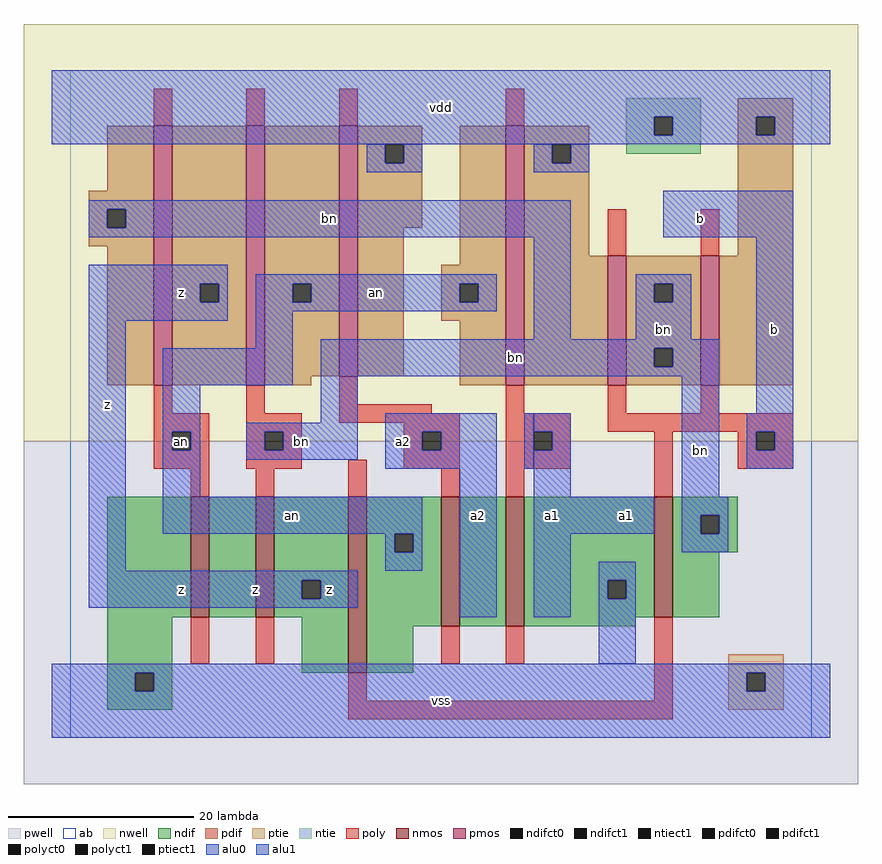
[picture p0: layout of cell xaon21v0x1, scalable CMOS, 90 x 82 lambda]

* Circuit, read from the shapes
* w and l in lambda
.subckt xaon21v0x1 a1 a2 an b bn vdd vss z
M1 n1 an vss vss nfet w=13 l=2
M2 z bn n1 vss nfet w=13 l=2
M3 an b z vss nfet w=19 l=2
M4 n2 a2 an vss nfet w=14 l=2
M5 vss a1 n2 vss nfet w=14 l=2
M6 bn b vss vss nfet w=13 l=2
M7 z an bn vdd pfet w=28 l=2
M8 an bn z vdd pfet w=28 l=2
M9 vdd a2 an vdd pfet w=27 l=2
M10 vdd a1 an vdd pfet w=28 l=2
M11 bn b vdd vdd pfet w=14 l=2 m=2
.ends

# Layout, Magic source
magic
tech scmos
<< ab >>
rect 0 0 80 72
<< nwell >>
rect -5 32 85 77
<< pwell >>
rect -5 -5 85 32
<< poly >>
rect 9 66 11 70
rect 19 66 21 70
rect 29 66 31 70
rect 47 66 49 70
rect 9 35 11 38
rect 19 35 21 38
rect 29 36 31 39
rect 58 52 60 57
rect 68 52 70 57
rect 29 35 39 36
rect 47 35 49 38
rect 58 35 60 38
rect 68 35 70 38
rect 9 33 15 35
rect 9 31 11 33
rect 13 31 15 33
rect 9 29 15 31
rect 19 33 25 35
rect 29 34 42 35
rect 19 31 21 33
rect 23 31 25 33
rect 19 29 25 31
rect 36 33 42 34
rect 36 31 38 33
rect 40 31 42 33
rect 13 26 15 29
rect 20 26 22 29
rect 30 26 32 30
rect 36 29 42 31
rect 40 26 42 29
rect 47 33 54 35
rect 58 33 78 35
rect 47 31 50 33
rect 52 31 54 33
rect 47 29 54 31
rect 47 26 49 29
rect 63 26 65 33
rect 72 31 74 33
rect 76 31 78 33
rect 72 29 78 31
rect 13 8 15 13
rect 20 8 22 13
rect 40 8 42 12
rect 47 8 49 12
rect 30 4 32 7
rect 63 4 65 13
rect 30 2 65 4
<< ndif >>
rect 4 13 13 26
rect 15 13 20 26
rect 22 17 30 26
rect 22 15 25 17
rect 27 15 30 17
rect 22 13 30 15
rect 4 7 11 13
rect 25 7 30 13
rect 32 22 40 26
rect 32 20 35 22
rect 37 20 40 22
rect 32 12 40 20
rect 42 12 47 26
rect 49 17 63 26
rect 49 15 58 17
rect 60 15 63 17
rect 49 13 63 15
rect 65 24 72 26
rect 65 22 68 24
rect 70 22 72 24
rect 65 20 72 22
rect 65 13 70 20
rect 49 12 61 13
rect 32 7 37 12
rect 4 5 7 7
rect 9 5 11 7
rect 4 3 11 5
<< pdif >>
rect 4 59 9 66
rect 2 57 9 59
rect 2 55 4 57
rect 6 55 9 57
rect 2 53 9 55
rect 4 38 9 53
rect 11 49 19 66
rect 11 47 14 49
rect 16 47 19 49
rect 11 38 19 47
rect 21 49 29 66
rect 21 47 24 49
rect 26 47 29 49
rect 21 39 29 47
rect 31 64 38 66
rect 31 62 34 64
rect 36 62 38 64
rect 31 55 38 62
rect 31 39 36 55
rect 42 51 47 66
rect 40 49 47 51
rect 40 47 42 49
rect 44 47 47 49
rect 40 45 47 47
rect 21 38 26 39
rect 42 38 47 45
rect 49 64 56 66
rect 49 62 52 64
rect 54 62 56 64
rect 72 67 78 69
rect 72 65 74 67
rect 76 65 78 67
rect 49 52 56 62
rect 72 52 78 65
rect 49 38 58 52
rect 60 49 68 52
rect 60 47 63 49
rect 65 47 68 49
rect 60 42 68 47
rect 60 40 63 42
rect 65 40 68 42
rect 60 38 68 40
rect 70 38 78 52
<< alu1 >>
rect -2 67 82 72
rect -2 65 63 67
rect 65 65 74 67
rect 76 65 82 67
rect -2 64 82 65
rect 64 54 78 59
rect 2 49 17 51
rect 2 47 14 49
rect 16 47 17 49
rect 2 45 17 47
rect 2 18 6 45
rect 34 33 46 35
rect 34 31 38 33
rect 40 31 46 33
rect 34 29 46 31
rect 50 33 54 35
rect 52 31 54 33
rect 2 17 31 18
rect 2 15 25 17
rect 27 15 31 17
rect 2 14 31 15
rect 42 13 46 29
rect 50 26 54 31
rect 74 35 78 54
rect 73 33 78 35
rect 73 31 74 33
rect 76 31 78 33
rect 73 29 78 31
rect 50 22 63 26
rect 50 13 54 22
rect -2 7 82 8
rect -2 5 7 7
rect 9 5 73 7
rect 75 5 82 7
rect -2 0 82 5
<< ptie >>
rect 71 7 77 9
rect 71 5 73 7
rect 75 5 77 7
rect 71 3 77 5
<< ntie >>
rect 60 67 68 69
rect 60 65 63 67
rect 65 65 68 67
rect 60 63 68 65
<< nmos >>
rect 13 13 15 26
rect 20 13 22 26
rect 30 7 32 26
rect 40 12 42 26
rect 47 12 49 26
rect 63 13 65 26
<< pmos >>
rect 9 38 11 66
rect 19 38 21 66
rect 29 39 31 66
rect 47 38 49 66
rect 58 38 60 52
rect 68 38 70 52
<< polyct0 >>
rect 11 31 13 33
rect 21 31 23 33
<< polyct1 >>
rect 38 31 40 33
rect 50 31 52 33
rect 74 31 76 33
<< ndifct0 >>
rect 35 20 37 22
rect 58 15 60 17
rect 68 22 70 24
<< ndifct1 >>
rect 25 15 27 17
rect 7 5 9 7
<< ntiect1 >>
rect 63 65 65 67
<< ptiect1 >>
rect 73 5 75 7
<< pdifct0 >>
rect 4 55 6 57
rect 24 47 26 49
rect 34 62 36 64
rect 42 47 44 49
rect 52 62 54 64
rect 63 47 65 49
rect 63 40 65 42
<< pdifct1 >>
rect 14 47 16 49
rect 74 65 76 67
<< alu0 >>
rect 32 62 34 64
rect 36 62 38 64
rect 32 61 38 62
rect 50 62 52 64
rect 54 62 56 64
rect 50 61 56 62
rect 2 57 54 58
rect 2 55 4 57
rect 6 55 54 57
rect 2 54 54 55
rect 20 49 46 50
rect 20 47 24 49
rect 26 47 42 49
rect 44 47 46 49
rect 20 46 46 47
rect 20 42 24 46
rect 50 43 54 54
rect 61 49 67 50
rect 61 47 63 49
rect 65 47 67 49
rect 61 43 67 47
rect 10 38 24 42
rect 27 42 70 43
rect 27 40 63 42
rect 65 40 70 42
rect 27 39 70 40
rect 10 33 14 38
rect 27 34 31 39
rect 10 31 11 33
rect 13 31 14 33
rect 10 26 14 31
rect 19 33 31 34
rect 19 31 21 33
rect 23 31 31 33
rect 19 30 31 31
rect 49 29 50 35
rect 10 22 38 26
rect 34 20 35 22
rect 37 20 38 22
rect 34 18 38 20
rect 66 26 70 39
rect 66 24 71 26
rect 66 22 68 24
rect 70 22 71 24
rect 66 20 71 22
rect 57 17 61 19
rect 57 15 58 17
rect 60 15 61 17
rect 57 8 61 15
<< labels >>
rlabel polyct0 12 32 12 32 6 an
rlabel alu0 25 32 25 32 6 bn
rlabel alu0 24 24 24 24 6 an
rlabel alu0 33 48 33 48 6 an
rlabel alu0 28 56 28 56 6 bn
rlabel alu0 68 31 68 31 6 bn
rlabel alu0 48 41 48 41 6 bn
rlabel alu0 64 44 64 44 6 bn
rlabel alu1 12 16 12 16 6 z
rlabel alu1 4 36 4 36 6 z
rlabel alu1 12 48 12 48 6 z
rlabel alu1 28 16 28 16 6 z
rlabel alu1 20 16 20 16 6 z
rlabel alu1 36 32 36 32 6 a2
rlabel alu1 40 4 40 4 6 vss
rlabel alu1 44 24 44 24 6 a2
rlabel alu1 52 24 52 24 6 a1
rlabel alu1 40 68 40 68 6 vdd
rlabel alu1 60 24 60 24 6 a1
rlabel alu1 76 44 76 44 6 b
rlabel alu1 68 56 68 56 6 b
<< end >>
